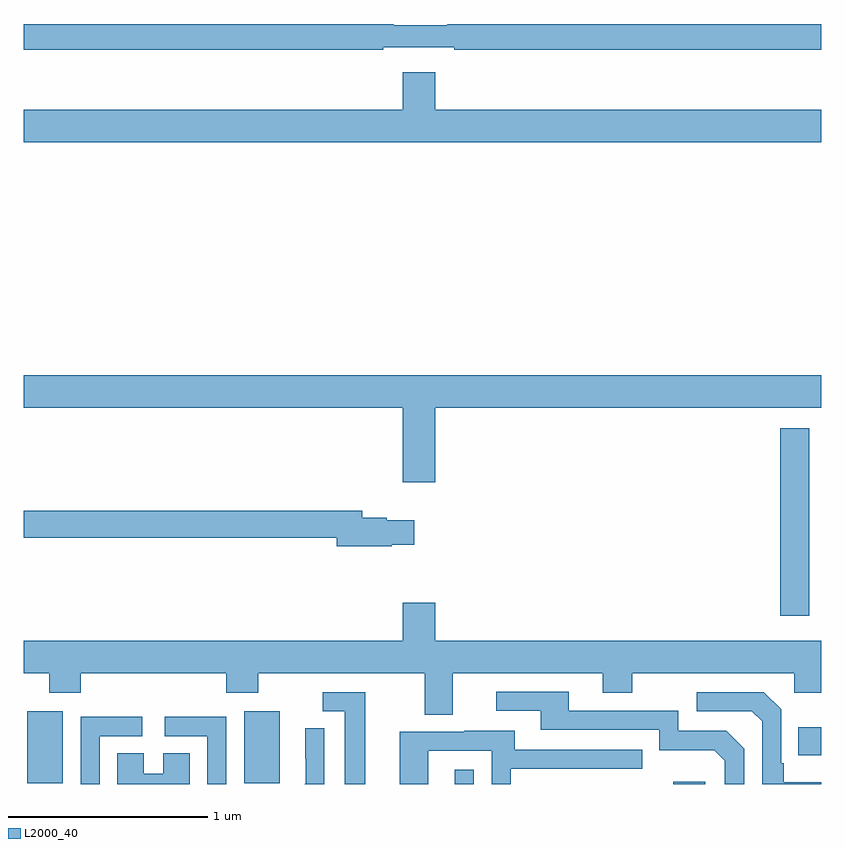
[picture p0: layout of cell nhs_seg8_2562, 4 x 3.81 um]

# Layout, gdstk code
import gdstk
lib = gdstk.Library(unit=1e-6, precision=1e-09)
def R(c, l, rs):  # rectangles x0, y0, x1, y1
    for r in rs: c.add(gdstk.rectangle(r[:2], r[2:], *l))
def P(c, l, *ps):  # polygons
    for p in ps: c.add(gdstk.Polygon(p, *l))
L2000_40 = (2000, 40)

nhs_seg8_2562 = lib.new_cell('nhs_seg8_2562')
R(nhs_seg8_2562, L2000_40, [(273.161,1159.9,273.258,1159.972), (274.259,1159.9,274.42,1159.912), (271.016,1159.905,271.195,1160.266), (272.105,1159.905,272.284,1160.266), (274.885,1160.045,275,1160.185), (274.796,1160.745,274.942,1161.685)])
P(nhs_seg8_2562, L2000_40, [(272.804,1163.598),(273.16,1163.598),(273.16,1163.586),(275,1163.586),(275,1163.714),(273.123,1163.714),(273.123,1163.707),(272.855,1163.707),(272.855,1163.714),(271,1163.714),(271,1163.586),(272.804,1163.586)],
  [(275,1163.284),(273.064,1163.284),(273.064,1163.473),(272.9,1163.473),(272.9,1163.284),(271,1163.284),(271,1163.12),(275,1163.12)],
  [(273.064,1161.788),(275,1161.788),(275,1161.952),(271,1161.952),(271,1161.788),(272.9,1161.788),(272.9,1161.414),(273.064,1161.414)],
  [(272.846,1161.101),(272.959,1161.101),(272.959,1161.223),(272.82,1161.223),(272.82,1161.236),(272.698,1161.236),(272.698,1161.272),(271,1161.272),(271,1161.136),(272.57,1161.136),(272.57,1161.094),(272.846,1161.094)],
  [(273.151,1160.456),(273.905,1160.456),(273.905,1160.357),(274.053,1160.357),(274.053,1160.456),(274.866,1160.456),(274.866,1160.357),(275,1160.357),(275,1160.62),(273.064,1160.62),(273.064,1160.809),(272.9,1160.809),(272.9,1160.62),(271,1160.62),(271,1160.456),(271.126,1160.456),(271.126,1160.357),(271.286,1160.357),(271.286,1160.456),(272.015,1160.456),(272.015,1160.357),(272.175,1160.357),(272.175,1160.456),(273.011,1160.456),(273.011,1160.248),(273.151,1160.248)],
  [(274.614,1160.076),(274.524,1160.166),(274.284,1160.166),(274.284,1160.268),(273.733,1160.268),(273.733,1160.364),(273.369,1160.364),(273.369,1160.268),(273.593,1160.268),(273.593,1160.172),(274.188,1160.172),(274.188,1160.069),(274.465,1160.069),(274.518,1160.016),(274.518,1159.9),(274.614,1159.9)],
  [(272.713,1160.361),(272.499,1160.361),(272.499,1160.265),(272.609,1160.265),(272.609,1159.9),(272.713,1159.9)],
  [(275,1159.909),(274.813,1159.909),(274.813,1160.005),(274.8,1160.005),(274.8,1160.274),(274.713,1160.361),(274.377,1160.361),(274.377,1160.265),(274.653,1160.265),(274.704,1160.214),(274.704,1159.9),(275,1159.9)],
  [(271.38,1160.139),(271.594,1160.139),(271.594,1160.238),(271.284,1160.238),(271.284,1159.9),(271.38,1159.9)],
  [(272.016,1160.238),(271.707,1160.238),(271.707,1160.139),(271.92,1160.139),(271.92,1159.9),(272.016,1159.9)],
  [(272.508,1160.18),(272.412,1160.18),(272.412,1160.026),(272.414,1160.026),(272.414,1159.904),(272.41,1159.9),(272.508,1159.9)],
  [(273.03,1160.067),(273.348,1160.067),(273.348,1159.9),(273.444,1159.9),(273.444,1159.977),(274.103,1159.977),(274.103,1160.073),(273.463,1160.073),(273.463,1160.167),(273.209,1160.167),(273.209,1160.163),(272.885,1160.163),(272.885,1159.9),(273.03,1159.9)],
  [(271.831,1160.054),(271.7,1160.054),(271.7,1159.951),(271.6,1159.951),(271.6,1160.054),(271.469,1160.054),(271.469,1159.9),(271.831,1159.9)])

lib.write_gds('nhs_seg8_2562.gds')
